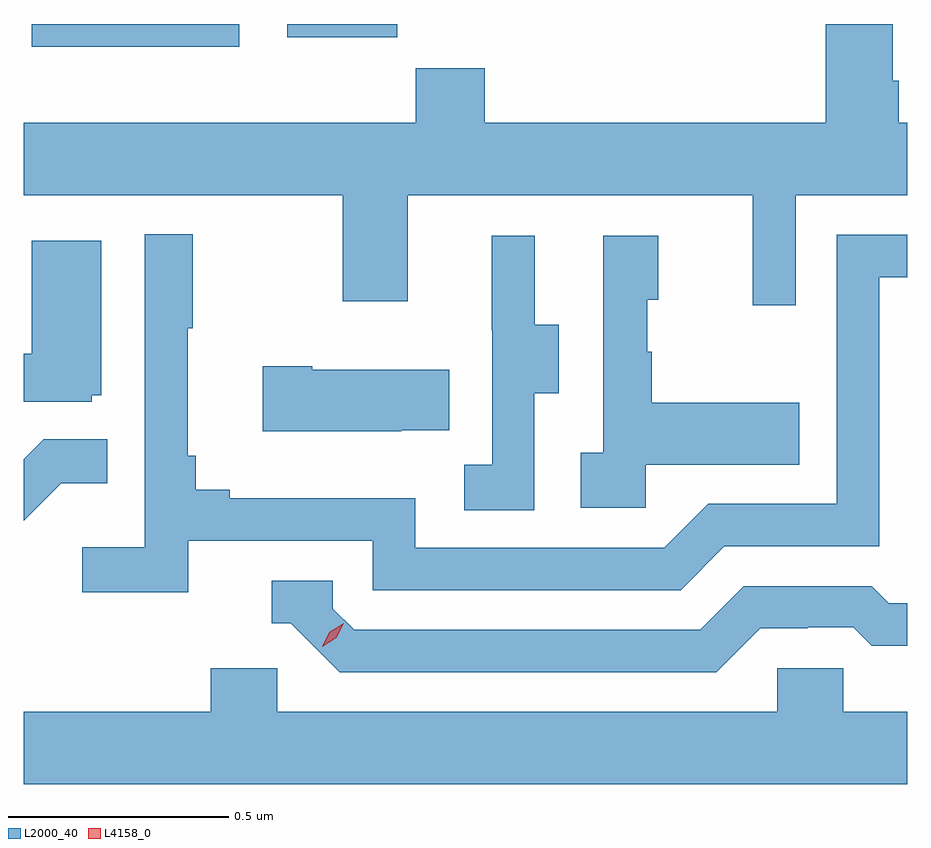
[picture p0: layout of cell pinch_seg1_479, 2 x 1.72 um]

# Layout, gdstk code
import gdstk
lib = gdstk.Library(unit=1e-6, precision=1e-09)
def R(c, l, rs):  # rectangles x0, y0, x1, y1
    for r in rs: c.add(gdstk.rectangle(r[:2], r[2:], *l))
def P(c, l, *ps):  # polygons
    for p in ps: c.add(gdstk.Polygon(p, *l))
L2000_40 = (2000, 40)
L4158_0 = (4158, 0)

pinch_seg1_479 = lib.new_cell('pinch_seg1_479')
R(pinch_seg1_479, L2000_40, [(1009.388,518.768,1009.858,518.82), (1009.967,518.79,1010.216,518.82)])
P(pinch_seg1_479, L2000_40, [(1011.185,518.82),(1011.185,518.596),(1010.414,518.596),(1010.414,518.72),(1010.257,518.72),(1010.257,518.596),(1009.37,518.596),(1009.37,518.432),(1010.092,518.432),(1010.092,518.193),(1010.239,518.193),(1010.239,518.432),(1011.02,518.432),(1011.02,518.184),(1011.117,518.184),(1011.117,518.432),(1011.37,518.432),(1011.37,518.596),(1011.35,518.596),(1011.35,518.692),(1011.337,518.692),(1011.337,518.82)],
  [(1009.742,517.65),(1010.16,517.65),(1010.16,517.539),(1010.857,517.539),(1010.956,517.638),(1011.306,517.638),(1011.306,518.247),(1011.37,518.247),(1011.37,518.343),(1011.21,518.343),(1011.21,517.734),(1010.919,517.734),(1010.82,517.635),(1010.256,517.635),(1010.256,517.747),(1009.837,517.747),(1009.837,517.766),(1009.76,517.766),(1009.76,517.843),(1009.741,517.843),(1009.741,518.131),(1009.753,518.131),(1009.753,518.344),(1009.644,518.344),(1009.644,517.636),(1009.503,517.636),(1009.503,517.534),(1009.742,517.534)],
  [(1010.526,517.984),(1010.581,517.984),(1010.581,518.139),(1010.527,518.139),(1010.527,518.341),(1010.429,518.341),(1010.429,518.127),(1010.43,518.127),(1010.43,517.823),(1010.367,517.823),(1010.367,517.72),(1010.526,517.72)],
  [(1010.778,517.823),(1011.125,517.823),(1011.125,517.963),(1010.791,517.963),(1010.791,518.078),(1010.781,518.078),(1010.781,518.196),(1010.806,518.196),(1010.806,518.341),(1010.682,518.341),(1010.682,517.85),(1010.631,517.85),(1010.631,517.725),(1010.778,517.725)],
  [(1009.524,517.98),(1009.546,517.98),(1009.546,518.329),(1009.388,518.329),(1009.388,518.074),(1009.37,518.074),(1009.37,517.965),(1009.524,517.965)],
  [(1010.225,517.901),(1010.333,517.901),(1010.333,518.038),(1010.023,518.038),(1010.023,518.046),(1009.911,518.046),(1009.911,517.898),(1010.225,517.898)],
  [(1009.455,517.781),(1009.559,517.781),(1009.559,517.88),(1009.415,517.88),(1009.37,517.835),(1009.37,517.696)],
  [(1011.037,517.452),(1011.144,517.452),(1011.144,517.455),(1011.247,517.455),(1011.289,517.413),(1011.37,517.413),(1011.37,517.509),(1011.328,517.509),(1011.289,517.548),(1011,517.548),(1010.901,517.449),(1010.118,517.449),(1010.07,517.497),(1010.07,517.56),(1009.931,517.56),(1009.931,517.464),(1009.974,517.464),(1010.085,517.353),(1010.938,517.353)],
  [(1011.37,517.264),(1011.225,517.264),(1011.225,517.362),(1011.075,517.362),(1011.075,517.264),(1009.944,517.264),(1009.944,517.362),(1009.793,517.362),(1009.793,517.264),(1009.37,517.264),(1009.37,517.1),(1011.37,517.1)])
P(pinch_seg1_479, L4158_0, [(1010.046,517.411),(1010.046,517.412),(1010.062,517.444),(1010.094,517.464),(1010.094,517.464),(1010.094,517.464),(1010.077,517.431),(1010.046,517.411)])

lib.write_gds('pinch_seg1_479.gds')
